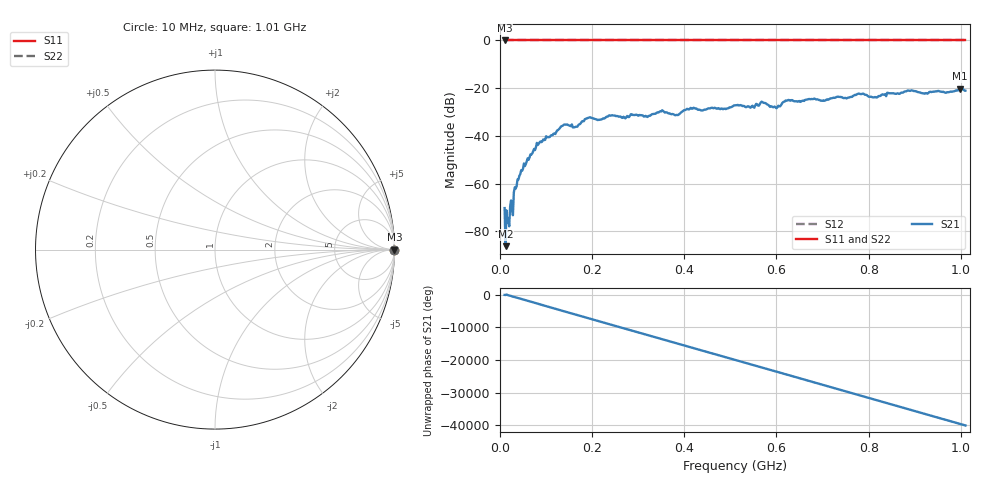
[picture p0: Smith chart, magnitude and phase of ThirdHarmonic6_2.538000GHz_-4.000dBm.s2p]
! 8/17/2025 5:06:17 AM
! C:\ANRITSUVNA\TEMP\TEMP.S2P
! CHANNEL.1
! TR.MEASUREMENT
! RAW.DATA
! RF.CORRECTION.OFF
! AVERAGING.OFF
! IF.BANDWIDTH: 5KHZ
! SWEEPTYPE:  FREQ.SWEEP(Linear)
! Reference Plane Port Info
! PORT:  PORT1  PORT2
! DISTANCE:  0  m  0  m
! TIME:  0  s  0  s
! PHASE.OFFSET:  0  deg.  0  deg.
! LOSS:  0  dB  0  dB
! REF.LOSS:  0  dB  0  dB
! REF.FREQ:  0  Hz  0  Hz
! Power Info
! POWER:  -20  dBm  -20  dBm
! EFF.POWER:  -20  dBm  -20  dBm
! SOURCE.ATTEN:  0  dB  0  dB
! TEST.ATTEN:  0  dB  0  dB
# GHZ S RI R 50.0
! FREQ.GHZ  S11RE  S11IM  S21RE  S21IM  S12RE  S12IM  S22RE  S22IM
!; PortSelection: Port_12
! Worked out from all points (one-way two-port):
!   501 points, 10 MHz to 1.01 GHz, reference 50 ohm
!   highest |S21| = -20.23 dB at 998 MHz (marker M1); lowest = -86.1 dB at 12 MHz (marker M2)
!   lowest |S11| = 0.0 dB at 10 MHz (marker M3)
!   |S11| at or under -10 dB: nowhere
!   |S22| runs from 0.0 to 0.0 dB; largest |S21 - S12| = 1.1
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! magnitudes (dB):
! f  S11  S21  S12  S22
! 10 MHz  0.0  -70.2  0.0  0.0
! 12 MHz  0.0  -86.1  0.0  0.0
! 16 MHz  0.0  -76.5  0.0  0.0
! 24 MHz  0.0  -67.0  0.0  0.0
! 34 MHz  0.0  -62.1  0.0  0.0
! 48 MHz  0.0  -54.6  0.0  0.0
! 84 MHz  0.0  -43.3  0.0  0.0
! 136 MHz  0.0  -35.7  0.0  0.0
! 164 MHz  0.0  -36.2  0.0  0.0
! 178 MHz  0.0  -33.9  0.0  0.0
! 194 MHz  0.0  -32.3  0.0  0.0
! 344 MHz  0.0  -30.2  0.0  0.0
! 384 MHz  0.0  -31.2  0.0  0.0
! 416 MHz  0.0  -28.6  0.0  0.0
! 510 MHz  0.0  -27.1  0.0  0.0
! 570 MHz  0.0  -25.9  0.0  0.0
! 598 MHz  0.0  -28.1  0.0  0.0
! 624 MHz  0.0  -25.1  0.0  0.0
! 678 MHz  0.0  -24.6  0.0  0.0
! 844 MHz  0.0  -22.1  0.0  0.0
! 998 MHz  0.0  -20.2  0.0  0.0
! 1.01 GHz  0.0  -21.0  0.0  0.0
